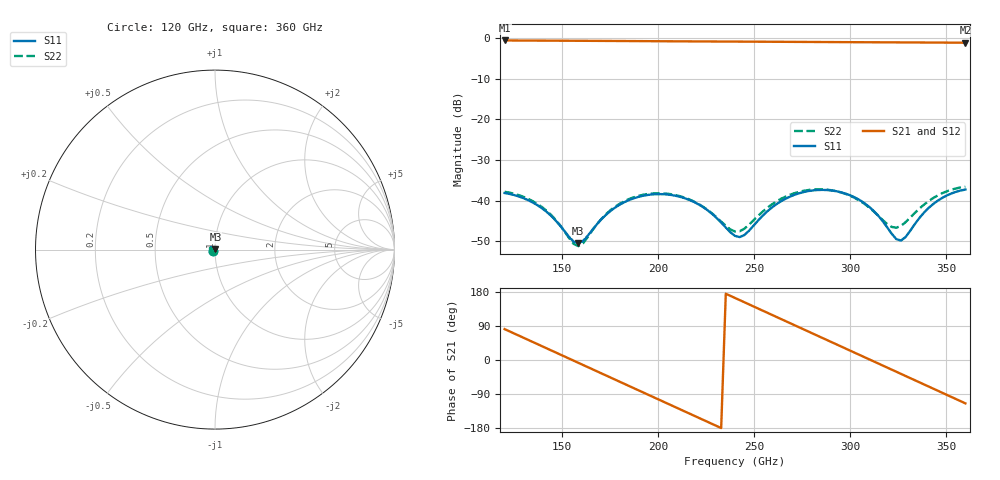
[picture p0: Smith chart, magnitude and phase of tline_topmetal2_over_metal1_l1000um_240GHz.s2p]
#  GHZ S DB R 50
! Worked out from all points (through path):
!   101 points, 120 GHz to 360 GHz, reference 50 ohm
!   highest |S21| = -0.57 dB at 120 GHz (marker M1); lowest = -1.1 dB at 360 GHz (marker M2)
!   group delay of S21, straight-line fit = 6.43 ps
!   lowest |S11| = -50.5 dB at 158.4 GHz (marker M3), VSWR 1.01, Z = 50.2 + j0.169 ohm
!   |S11| at or under -10 dB: start of sweep to end of sweep
!   |S22| runs from -51.2 to -36.6 dB; largest |S21 - S12| = 1e-13
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120  -38.13 -137.7  -0.57 81.5  -0.57 81.5  -37.82 -136.1
129.6  -39.35 -167.9  -0.59 59.3  -0.59 59.3  -39.02 -165.5
141.6  -42.65 150.2  -0.62 31.5  -0.62 31.5  -42.38 153.9
158.4  -50.50 34.4  -0.65 -7.4  -0.65 -7.4  -51.21 36.7
160.8  -49.93 8.7  -0.66 -13.0  -0.66 -13.0  -50.52 8.6
172.8  -43.49 -68.9  -0.69 -40.8  -0.69 -40.8  -43.33 -69.3
182.4  -40.38 -105.3  -0.71 -63.0  -0.71 -63.0  -40.13 -104.6
192  -38.81 -136.9  -0.74 -85.2  -0.74 -85.2  -38.57 -135.7
201.6  -38.40 -167.1  -0.77 -107.4  -0.77 -107.4  -38.19 -165.7
223.2  -41.54 121.9  -0.82 -157.4  -0.82 -157.4  -41.45 121.9
240  -48.69 25.5  -0.85 163.7  -0.85 163.7  -47.60 21.3
244.8  -48.50 -21.1  -0.86 152.6  -0.86 152.6  -46.94 -21.0
261.6  -40.86 -114.9  -0.90 113.7  -0.90 113.7  -40.19 -109.3
271.2  -38.53 -147.1  -0.92 91.4  -0.92 91.4  -38.13 -141.9
280.8  -37.47 -176.5  -0.95 69.2  -0.95 69.2  -37.26 -172.0
302.4  -39.21 118.0  -1.00 19.1  -1.00 19.1  -39.35 118.6
312  -42.42 83.7  -1.02 -3.1  -1.02 -3.1  -42.56 79.0
321.6  -48.14 27.9  -1.04 -25.4  -1.04 -25.4  -46.47 13.8
326.4  -49.83 -24.3  -1.05 -36.5  -1.05 -36.5  -46.23 -29.8
340.8  -41.82 -124.7  -1.08 -69.9  -1.08 -69.9  -40.13 -112.2
350.4  -38.71 -157.7  -1.10 -92.2  -1.10 -92.2  -37.69 -145.4
360  -37.27 173.5  -1.13 -114.4  -1.13 -114.4  -36.59 -174.5
